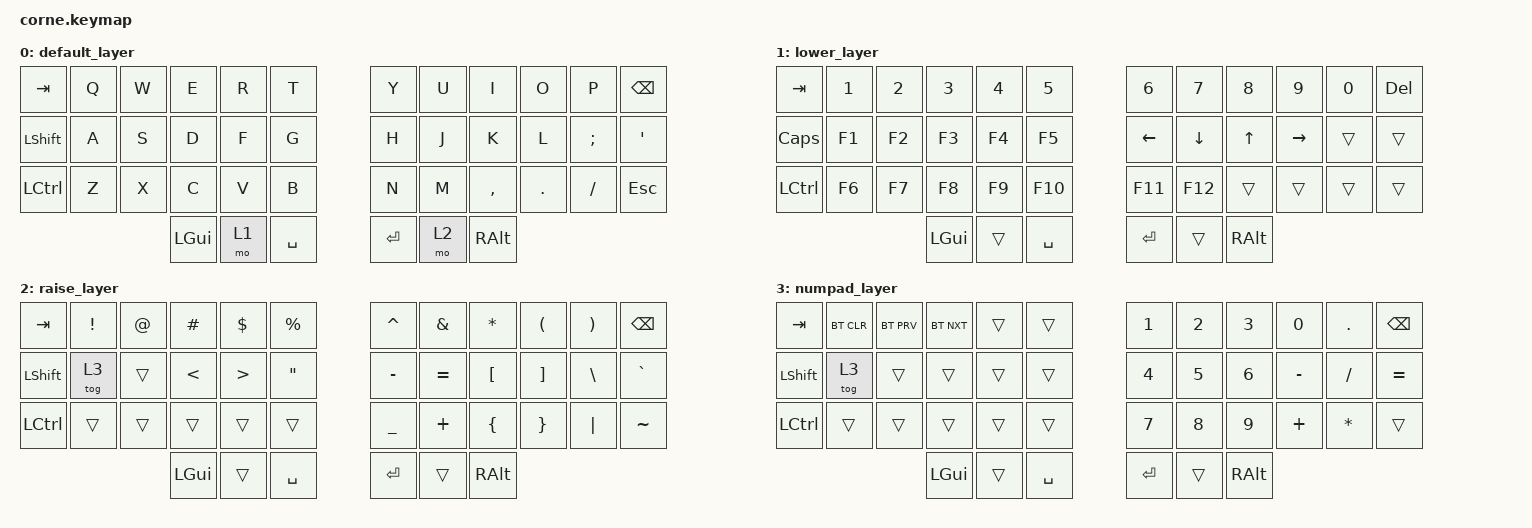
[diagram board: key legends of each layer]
/*
 * Copyright (c) 2020 The ZMK Contributors
 *
 * SPDX-License-Identifier: MIT
 */

#include <behaviors.dtsi>
#include <dt-bindings/zmk/keys.h>
#include <dt-bindings/zmk/bt.h>

/ {
        keymap {
                compatible = "zmk,keymap";

                default_layer {
// -----------------------------------------------------------------------------------------
// |  TAB |  Q  |  W  |  E  |  R  |  T  |   |  Y  |  U   |  I     |  O     |  P     | BSPC    |
// | SHFT |  A  |  S  |  D  |  F  |  G  |   |  H  |  J   |  K     |  L     |  ;(:)  |  '(")   |
// | CTRL |  Z  |  X  |  C  |  V  |  B  |   |  N  |  M   |  ,(<)  |  .(>)  |  /(?)  | ESC     |
//                    | GUI | LWR | SPC |   | ENT | RSE  | ALT |
                        bindings = <
   &kp TAB   &kp Q &kp W &kp E &kp R &kp T   &kp Y &kp U  &kp I     &kp O   &kp P    &kp BSPC
   &kp LSHFT &kp A &kp S &kp D &kp F &kp G   &kp H &kp J  &kp K     &kp L   &kp SEMI &kp SQT
   &kp LCTRL &kp Z &kp X &kp C &kp V &kp B   &kp N &kp M  &kp COMMA &kp DOT &kp FSLH &kp ESC
                  &kp LGUI &mo 1 &kp SPACE   &kp RET &mo 2 &kp RALT
                        >;
                };
                lower_layer {
// -----------------------------------------------------------------------------------------
// |  TAB |  1  |  2  |  3  |  4  |  5  |   |  6  |  7  |  8  |  9  |  0  |  DEL |
// | CAPS |  F1 |  F2 |  F3 |  F4 |  F5 |   | LFT | DWN |  UP | RGT |     |      |
// | CTRL |  F6 |  F7 |  F8 |  F9 | F10 |   | F11 | F12 |     |     |     |      |
//                    | GUI |     | SPC |   | ENT |     | ALT |
                        bindings = <
   &kp TAB    &kp N1 &kp N2 &kp N3 &kp N4 &kp N5      &kp N6   &kp N7   &kp N8 &kp N9    &kp N0 &kp DEL
   &kp CAPS   &kp F1 &kp F2 &kp F3 &kp F4 &kp F5      &kp LEFT &kp DOWN &kp UP &kp RIGHT &trans &trans
   &kp LCTRL  &kp F6 &kp F7 &kp F8 &kp F9 &kp F10     &kp F11  &kp F12  &trans &trans    &trans &trans
                        &kp LGUI &trans &kp SPACE     &kp RET  &trans   &kp RALT
                        >;
                };

                raise_layer {
// -----------------------------------------------------------------------------------------
// |  TAB |  !   |  @  |  #  |  $  |  %  |   |  ^  |  &  |  *  |  (  |  )  | BSPC |
// | SHFT | NPAD |     |  <  |  >  |  "  |   |  -  |  =  |  [  |  ]  |  \  |  `   |
// | CTRL |      |     |     |     |  ?  |   |  _  |  +  |  {  |  }  | "|" |  ~   |
//                     | GUI |     | SPC |   | ENT |     | ALT |
                        bindings = <
   &kp TAB   &kp EXCL &kp AT &kp HASH &kp DLLR &kp PRCNT     &kp CARET &kp AMPS  &kp ASTRK &kp LPAR &kp RPAR &kp BSPC
   &kp LSHFT &tog 3   &trans &kp LT   &kp GT   &kp DQT       &kp MINUS &kp EQUAL &kp LBKT  &kp RBKT &kp BSLH &kp GRAVE
   &kp LCTRL &trans   &trans &trans   &trans   &trans        &kp UNDER &kp PLUS  &kp LBRC  &kp RBRC &kp PIPE &kp TILDE
                             &kp LGUI &trans   &kp SPACE     &kp RET   &trans    &kp RALT
                        >;
                };

                numpad_layer {
// -----------------------------------------------------------------------------------------
// | TAB  |BT_CLR|BT_PRV|BT_NXT|     |   |     | 1 | 2 | 3 | 0 | . | BSPC |
// | SHFT | DFT  |      |      |     |   |     | 4 | 5 | 6 | - | / |  =   |
// | CTRL |      |      |      |     |   |     | 7 | 8 | 9 | + | * |      |
//               | GUI  |      | SPC |   | ENT |     | ALT |
                        bindings = <
   &kp TAB    &bt BT_CLR &bt BT_PRV &bt BT_NXT &trans &trans     &kp N1 &kp N2 &kp N3 &kp N0    &kp DOT   &kp BSPC
   &kp LSHFT  &tog 3     &trans     &trans     &trans &trans     &kp N4 &kp N5 &kp N6 &kp MINUS &kp SLASH &kp EQUAL
   &kp LCTRL  &trans     &trans     &trans     &trans &trans     &kp N7 &kp N8 &kp N9 &kp   PLUS  &kp ASTRK &trans
                         &kp LGUI   &trans     &kp SPACE     &kp RET &trans  &kp RALT
                        >;
                };
        };
};
